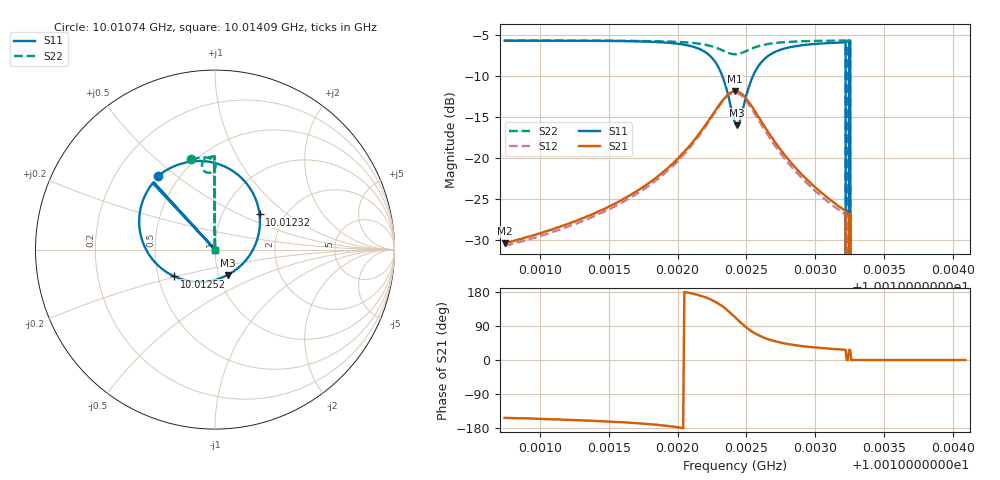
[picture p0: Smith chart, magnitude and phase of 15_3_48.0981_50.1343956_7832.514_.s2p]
#  HZ  S  RI  R  50.00
! Rohde & Schwarz Vector Network Analyzer
! Rohde-Schwarz,ZNB20-2Port,1311601062101988,3.16
! Created: UTC 12/23/2023, 3:36:06 AM
! freq[Hz]  re:S11  im:S11  re:S21  im:S21  re:S12  im:S12  re:S22  im:S22
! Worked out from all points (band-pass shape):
!   401 points, 10.01074 GHz to 10.01409 GHz, reference 50 ohm
!   highest |S21| = -11.85 dB at 10.01242 GHz (marker M1); lowest = -30.4 dB at 10.01074 GHz (marker M2)
!   |S21| within 3 dB of the highest: 10.01225 GHz to 10.01258 GHz (335.4 kHz wide, 0.00335 % of centre)
!   lowest |S11| = -16.0 dB at 10.01243 GHz (marker M3), VSWR 1.38, Z = 55.3 - j16 ohm
!   |S11| at or under -10 dB: 10.01232 GHz to 10.01255 GHz (222.3 kHz wide, 0.00222 % of centre); 10.01322 GHz to 10.01324 GHz (24.74 kHz wide, 0.000247 % of centre); 10.01325 GHz to end of sweep
!   |S22| runs from - to -5.7 dB; largest |S21 - S12| = 0.044
!   S11 on the Smith chart (normalised r, x): 10.01074 GHz: 0.38, +0.43; 10.01232 GHz: 1.49, +0.65; 10.01252 GHz: 0.61, -0.20; 10.01409 GHz: 1.00, +0.00
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1.0010744e10  -0.3171 0.4107  -0.027 -0.0138  -0.0251 -0.0148  -0.134 0.5023
1.0011304e10  -0.2591 0.4491  -0.0403 -0.0151  -0.0377 -0.0167  -0.0948 0.511
1.0011865e10  -0.1335 0.4907  -0.0777 -0.0116  -0.0741 -0.0151  -0.0473 0.5131
1.0012174e10  0.0819 0.4485  -0.1446 0.0288  -0.1422 0.0201  -0.00781 0.4952
1.0012258e10  0.1858 0.3551  -0.1707 0.0739  -0.1711 0.0636  0.00234 0.4771
1.0012325e10  0.2482 0.1962  -0.1763 0.1377  -0.1794 0.1277  0.00162 0.4537
1.0012417e10  0.1278 -0.1035  -0.0994 0.2354  -0.105 0.2282  -0.0313 0.428
1.0012433e10  0.0717 -0.141  -0.0753 0.2432  -0.0803 0.2364  -0.04 0.4281
1.0012517e10  -0.2265 -0.1494  0.0355 0.2169  0.0289 0.21  -0.0701 0.4513
1.0012584e10  -0.3587 -0.0407  0.0731 0.165  0.0663 0.1595  -0.0727 0.474
1.0012659e10  -0.4133 0.0781  0.0834 0.1165  0.0759 0.1137  -0.0654 0.4918
1.0012977e10  -0.3866 0.3082  0.0576 0.0382  0.053 0.0388  -0.0282 0.5162
1.0013203e10  -0.3493 0.367  0.0434 0.0223  0.0399 0.0233  -0.00724 0.5203
1.0013211e10  -0.348 0.3686  0.0428 0.022  0.0397 0.0228  -0.00652 0.5204
1.001322e10  -0.347 0.3701  0.0425 0.0215  0.0393 0.0226  -0.006 0.5205
1.0013236e10  0 0  0 0  0.0386 0.0217  -0.00442 0.5207
1.0013245e10  -0.3431 0.3745  0.0412 0.0207  0.0382 0.0215  -0.00373 0.5206
1.0013253e10  -0.3421 0.3759  0.0408 0.0203  0.0378 0.0211  -0.003 0.5209
1.0013262e10  0 0  0 0  0 0  0 0
1.0013278e10  0 0  0 0  0 0  0 0
1.0013538e10  0 0  0 0  0 0  0 0
1.001409e10  0 0  0 0  0 0  0 0
